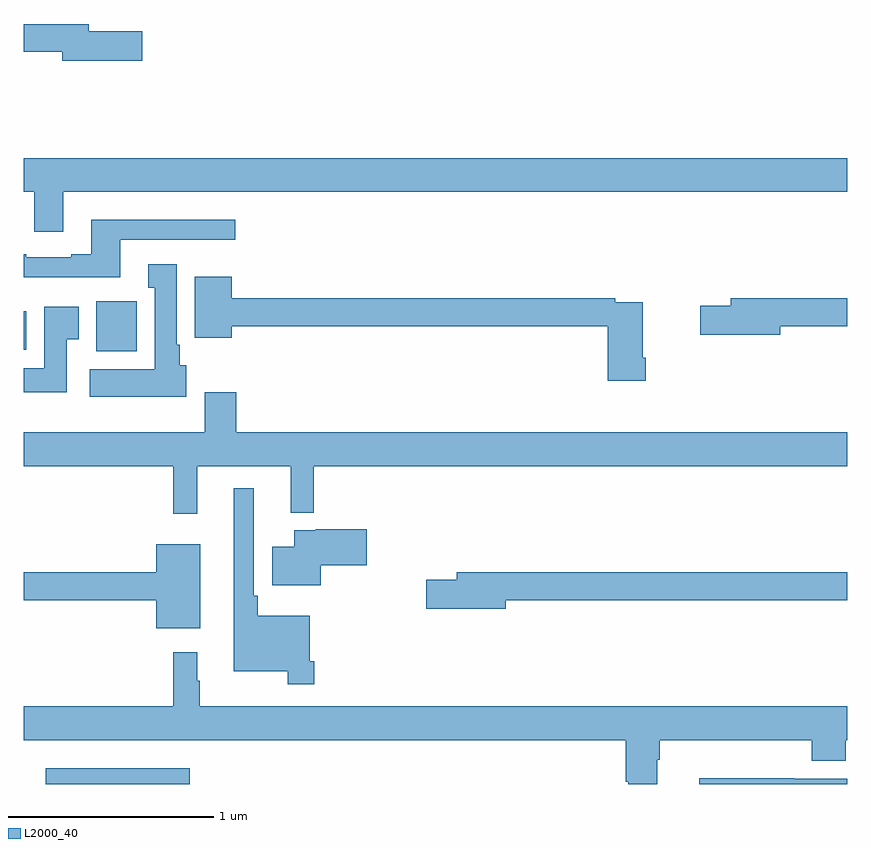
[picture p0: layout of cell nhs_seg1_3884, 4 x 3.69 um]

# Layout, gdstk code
import gdstk
lib = gdstk.Library(unit=1e-6, precision=1e-09)
def R(c, l, rs):  # rectangles x0, y0, x1, y1
    for r in rs: c.add(gdstk.rectangle(r[:2], r[2:], *l))
def P(c, l, *ps):  # polygons
    for p in ps: c.add(gdstk.Polygon(p, *l))
L2000_40 = (2000, 40)

nhs_seg1_3884 = lib.new_cell('nhs_seg1_3884')
R(nhs_seg1_3884, L2000_40, [(323.105,538.199,323.806,538.276), (323.351,540.302,323.548,540.544), (323,540.308,323.011,540.496)])
P(nhs_seg1_3884, L2000_40, [(323.575,541.856),(323.314,541.856),(323.314,541.892),(323,541.892),(323,541.756),(323.186,541.756),(323.186,541.714),(323.575,541.714)],
  [(323.191,541.076),(327,541.076),(327,541.24),(323,541.24),(323,541.076),(323.051,541.076),(323.051,540.882),(323.191,540.882)],
  [(323.467,540.843),(324.028,540.843),(324.028,540.94),(323.327,540.94),(323.327,540.772),(323.231,540.772),(323.231,540.759),(323.011,540.759),(323.011,540.772),(323,540.772),(323,540.662),(323.467,540.662)],
  [(323.788,540.234),(323.758,540.234),(323.758,540.334),(323.743,540.334),(323.743,540.724),(323.603,540.724),(323.603,540.611),(323.636,540.611),(323.636,540.214),(323.319,540.214),(323.319,540.08),(323.788,540.08)],
  [(326.021,540.271),(326.008,540.271),(326.008,540.54),(325.874,540.54),(325.874,540.56),(324.01,540.56),(324.01,540.664),(323.831,540.664),(323.831,540.368),(324.01,540.368),(324.01,540.424),(325.838,540.424),(325.838,540.159),(326.021,540.159)],
  [(326.674,540.424),(327,540.424),(327,540.56),(326.435,540.56),(326.435,540.524),(326.286,540.524),(326.286,540.382),(326.674,540.382)],
  [(323.209,540.361),(323.266,540.361),(323.266,540.517),(323.099,540.517),(323.099,540.22),(323,540.22),(323,540.102),(323.209,540.102)],
  [(323.843,539.744),(324.296,539.744),(324.296,539.516),(324.408,539.516),(324.408,539.744),(327,539.744),(327,539.908),(324.032,539.908),(324.032,540.103),(323.879,540.103),(323.879,539.908),(323,539.908),(323,539.744),(323.725,539.744),(323.725,539.511),(323.843,539.511)],
  [(324.41,538.795),(324.39,538.795),(324.39,539.017),(324.137,539.017),(324.137,539.113),(324.117,539.113),(324.117,539.635),(324.02,539.635),(324.02,538.748),(324.282,538.748),(324.282,538.683),(324.41,538.683)],
  [(324.442,539.261),(324.667,539.261),(324.667,539.436),(324.418,539.436),(324.418,539.431),(324.314,539.431),(324.314,539.353),(324.206,539.353),(324.206,539.165),(324.442,539.165)],
  [(323.857,539.365),(323.642,539.365),(323.642,539.228),(323,539.228),(323,539.092),(323.642,539.092),(323.642,538.955),(323.857,538.955)],
  [(325.342,539.092),(327,539.092),(327,539.228),(325.103,539.228),(325.103,539.192),(324.954,539.192),(324.954,539.05),(325.342,539.05)],
  [(326.077,538.316),(326.09,538.316),(326.09,538.412),(326.828,538.412),(326.828,538.313),(326.993,538.313),(326.993,538.412),(327,538.412),(327,538.576),(323.854,538.576),(323.854,538.7),(323.842,538.7),(323.842,538.84),(323.725,538.84),(323.725,538.576),(323,538.576),(323,538.412),(325.925,538.412),(325.925,538.21),(325.937,538.21),(325.937,538.199),(326.077,538.199)],
  [(327,538.224),(326.744,538.224),(326.744,538.226),(326.282,538.226),(326.282,538.199),(327,538.199)])

lib.write_gds('nhs_seg1_3884.gds')
